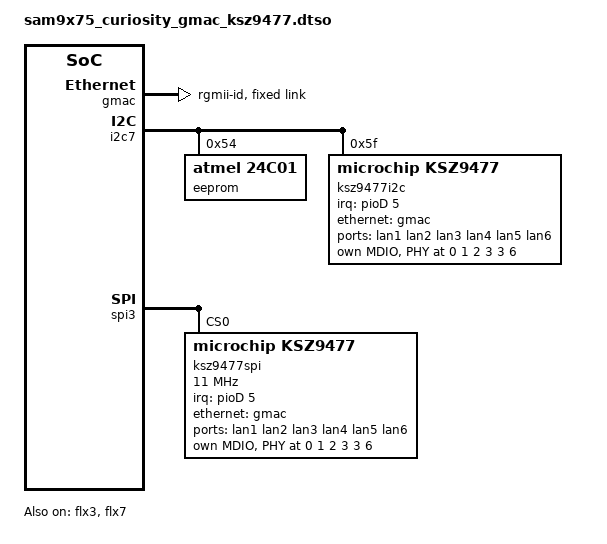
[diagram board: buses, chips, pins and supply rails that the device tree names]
// SPDX-License-Identifier: (GPL-2.0+ OR MIT)
/*
 * Device Tree file for SAM9X75 CURIOSITY board overlay blob supporting the
 * KSZ9477 7-port Gigabit switch Daughter Card using I2C or SPI and RGMII.
 *
 * Copyright (C) 2024 Microchip Technology Inc. and its subsidiaries
 *
 * Author: Jerry Ray <jerry.ray@microchip.com>
 *
 * Refer to the EV30S09A (KSZ9477-EDS2 daughter card)
 *
 */
/dts-v1/;
/plugin/;

#include <dt-bindings/gpio/gpio.h>
#include <dt-bindings/interrupt-controller/irq.h>
#include <dt-bindings/mfd/atmel-flexcom.h>
#include <dt-bindings/pinctrl/at91.h>

&flx3 {
	atmel,flexcom-mode = <ATMEL_FLEXCOM_MODE_SPI>;
	status = "okay";
};

&flx7 {
	atmel,flexcom-mode = <ATMEL_FLEXCOM_MODE_TWI>;
	status = "okay";
};

&gmac {
	phy-mode = "rgmii-id";
	pinctrl-names = "default";
	pinctrl-0 = <&pinctrl_gmac_rgmii_default>;
	magic-packet;
	status = "okay";

	fixed-link {
		speed = <1000>;
		full-duplex;
	};
};

&i2c7 {
	#address-cells = <1>;
	#size-cells = <0>;
	pinctrl-names = "default";
	pinctrl-0 = <&pinctrl_flx7_twi_default>;
	i2c-analog-filter;
	i2c-digital-filter;
	i2c-digital-filter-width-ns = <35>;
	dmas = <0>, <0>;
	status = "okay";

	eeprom@54 {
		compatible = "atmel,24c01";
		reg = <0x54>;
		pagesize = <8>;
		status = "okay";
	};

	ksz9477i2c: ksz9477i-switch@5f {
		compatible = "microchip,ksz9477";
		reg = <0x5f>;
		interrupt-parent = <&pioD>;
		interrupts = <5 IRQ_TYPE_LEVEL_LOW>;
		status = "okay";

		ports {
			#address-cells = <1>;
			#size-cells = <0>;
			port@0 {
				reg = <0>;
				label = "lan1";
				phy-handle = <&swphy_0>;
			};
			port@1 {
				reg = <1>;
				label = "lan2";
				phy-handle = <&swphy_1>;
			};
			port@2 {
				reg = <2>;
				label = "lan3";
				phy-handle = <&swphy_2>;
			};
			port@3 {
				reg = <3>;
				label = "lan4";
				phy-handle = <&swphy_3>;
			};
			port@4 {
				reg = <4>;
				label = "lan5";
				phy-handle = <&swphy_4>;
			};
			port@5 {
				reg = <5>;
				phy-mode = "rgmii-id";
				rx-internal-delay-ps = <2000>;
				tx-internal-delay-ps = <2000>;
				ethernet = <&gmac>;
				fixed-link {
					speed = <1000>;
					full-duplex;
					pause;
				};
			};
			port@6 {
				reg = <6>;
				label = "lan6";
				phy-handle = <&swphy_6>;
			};
		};
		mdio {
			#address-cells = <1>;
			#size-cells = <0>;
			swphy_0: ethernet-phy@0 {
				reg = <0>;
				eee-broken-100tx;
				eee-broken-1000t;
			};
			swphy_1: ethernet-phy@1 {
				reg = <1>;
				eee-broken-100tx;
				eee-broken-1000t;
			};
			swphy_2: ethernet-phy@2 {
				reg = <2>;
				eee-broken-100tx;
				eee-broken-1000t;
			};
			swphy_3: ethernet-phy@3 {
				reg = <3>;
				eee-broken-100tx;
				eee-broken-1000t;
			};
			swphy_4: ethernet-phy@4 {
				reg = <3>;
				eee-broken-100tx;
				eee-broken-1000t;
			};
			swphy_6: ethernet-phy@6 {
				reg = <6>;
				eee-broken-100tx;
				eee-broken-1000t;
			};
		};
	};
};

&pinctrl {

	flexcom {
		pinctrl_flx3_default: flx3-spi-default {
			atmel,pins =
				<AT91_PIOC 22 AT91_PERIPH_B AT91_PINCTRL_NONE
				 AT91_PIOC 23 AT91_PERIPH_B AT91_PINCTRL_NONE
				 AT91_PIOC 25 AT91_PERIPH_B AT91_PINCTRL_NONE
				 AT91_PIOC 26 AT91_PERIPH_B AT91_PINCTRL_NONE>;
		};

		pinctrl_flx7_twi_default: flx7-twi-default {
			atmel,pins =
				<AT91_PIOC 0 AT91_PERIPH_C AT91_PINCTRL_NONE
				 AT91_PIOC 1 AT91_PERIPH_C AT91_PINCTRL_NONE>;
		};
	};

	gmac {
		pinctrl_gmac_rgmii_default: gmac-rgmii-default {
			atmel,pins =
				<AT91_PIOB 13 AT91_PERIPH_A  AT91_PINCTRL_SLEWRATE_DIS				/* ETH_TX0   */
				 AT91_PIOB 14 AT91_PERIPH_A  AT91_PINCTRL_SLEWRATE_DIS				/* ETH_TX1   */
				 AT91_PIOB 4  AT91_PERIPH_A  AT91_PINCTRL_SLEWRATE_DIS				/* ETH_TX2   */
				 AT91_PIOB 5  AT91_PERIPH_A  AT91_PINCTRL_SLEWRATE_DIS				/* ETH_TX3   */
				 AT91_PIOB 7  AT91_PERIPH_A  AT91_PINCTRL_SLEWRATE_DIS				/* ETH_TXCTL  */
				 AT91_PIOB 6  AT91_PERIPH_A (AT91_PINCTRL_PULL_UP | AT91_PINCTRL_SLEWRATE_DIS)	/* ETH_TXCK  */

				 AT91_PIOB 11 AT91_PERIPH_A  AT91_PINCTRL_SLEWRATE_DIS				/* ETH_RX0   */
				 AT91_PIOB 12 AT91_PERIPH_A  AT91_PINCTRL_SLEWRATE_DIS				/* ETH_RX1   */
				 AT91_PIOB 0  AT91_PERIPH_A  AT91_PINCTRL_SLEWRATE_DIS				/* ETH_RX2   */
				 AT91_PIOB 1  AT91_PERIPH_A  AT91_PINCTRL_SLEWRATE_DIS				/* ETH_RX3   */
				 AT91_PIOB 8  AT91_PERIPH_A  AT91_PINCTRL_SLEWRATE_DIS				/* ETH_RXCK   */
				 AT91_PIOB 3  AT91_PERIPH_A  AT91_PINCTRL_SLEWRATE_DIS				/* ETH_RXCTL */

				 AT91_PIOB 10 AT91_PERIPH_A  AT91_PINCTRL_NONE					/* ETH_MDC   */
				 AT91_PIOB 9  AT91_PERIPH_A  AT91_PINCTRL_NONE					/* ETH_MDIO  */

				 AT91_PIOB 2  AT91_PERIPH_A  AT91_PINCTRL_DIS_SCHMIT			 	/* ETH_125CK */
				 AT91_PIOD 5  AT91_PERIPH_GPIO  AT91_PINCTRL_NONE>;				/* ETH_INT   */
		};
	};
};

&spi3 {
	#address-cells = <1>;
	#size-cells = <0>;
	dmas = <0>, <0>;
	status = "okay";

	ksz9477spi: ksz9477s-switch@0 {
		compatible = "microchip,ksz9477";
		reg = <0>;
		interrupt-parent = <&pioD>;
		interrupts = <5 IRQ_TYPE_LEVEL_LOW>;
		spi-max-frequency = <11000000>;
//		spi-cs-setup-delay-ns = <100>;
//		spi-cs-hold-delay-ns = <100>;
//		spi-cs-inactive-delay-ns = <0>;
		spi-cpha;
		spi-cpol;
		status = "okay";

		ports {
			#address-cells = <1>;
			#size-cells = <0>;
			port@0 {
				reg = <0>;
				label = "lan1";
				phy-handle = <&swphy0>;
			};
			port@1 {
				reg = <1>;
				label = "lan2";
				phy-handle = <&swphy1>;
			};
			port@2 {
				reg = <2>;
				label = "lan3";
				phy-handle = <&swphy2>;
			};
			port@3 {
				reg = <3>;
				label = "lan4";
				phy-handle = <&swphy3>;
			};
			port@4 {
				reg = <4>;
				label = "lan5";
				phy-handle = <&swphy4>;
			};
			port@5 {
				reg = <5>;
				phy-mode = "rgmii-id";
				rx-internal-delay-ps = <2000>;
				tx-internal-delay-ps = <2000>;
				ethernet = <&gmac>;
				fixed-link {
					speed = <1000>;
					full-duplex;
					pause;
				};
			};
			port@6 {
				reg = <6>;
				label = "lan6";
				phy-handle = <&swphy6>;
			};
		};
		mdio {
			#address-cells = <1>;
			#size-cells = <0>;
			swphy0: ethernet-phy@0 {
				reg = <0>;
				eee-broken-100tx;
				eee-broken-1000t;
			};
			swphy1: ethernet-phy@1 {
				reg = <1>;
				eee-broken-100tx;
				eee-broken-1000t;
			};
			swphy2: ethernet-phy@2 {
				reg = <2>;
				eee-broken-100tx;
				eee-broken-1000t;
			};
			swphy3: ethernet-phy@3 {
				reg = <3>;
				eee-broken-100tx;
				eee-broken-1000t;
			};
			swphy4: ethernet-phy@4 {
				reg = <3>;
				eee-broken-100tx;
				eee-broken-1000t;
			};
			swphy6: ethernet-phy@6 {
				reg = <6>;
				eee-broken-100tx;
				eee-broken-1000t;
			};
		};
	};
};

&{/} {
	model = "SAM9X75-Curiosity: KSZ9477 RGMII PHY Daughter Card";
};
